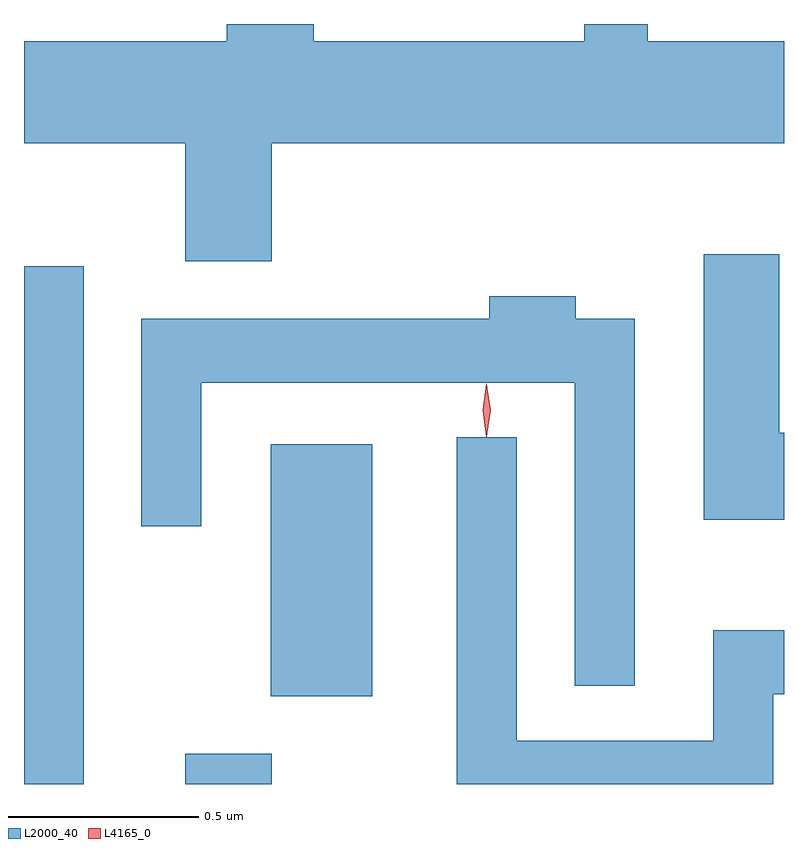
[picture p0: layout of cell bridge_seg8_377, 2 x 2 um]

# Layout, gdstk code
import gdstk
lib = gdstk.Library(unit=1e-6, precision=1e-09)
def R(c, l, rs):  # rectangles x0, y0, x1, y1
    for r in rs: c.add(gdstk.rectangle(r[:2], r[2:], *l))
def P(c, l, *ps):  # polygons
    for p in ps: c.add(gdstk.Polygon(p, *l))
L2000_40 = (2000, 40)
L4165_0 = (4165, 0)

bridge_seg8_377 = lib.new_cell('bridge_seg8_377')
R(bridge_seg8_377, L2000_40, [(722.997,1927.97,723.154,1929.333), (723.421,1927.97,723.649,1928.049), (723.646,1928.201,723.914,1928.864)])
P(bridge_seg8_377, L2000_40, [(723.649,1929.656),(724.997,1929.656),(724.997,1929.924),(724.639,1929.924),(724.639,1929.97),(724.471,1929.97),(724.471,1929.924),(723.759,1929.924),(723.759,1929.97),(723.531,1929.97),(723.531,1929.924),(722.997,1929.924),(722.997,1929.656),(723.421,1929.656),(723.421,1929.346),(723.649,1929.346)],
  [(724.997,1928.894),(724.984,1928.894),(724.984,1929.364),(724.786,1929.364),(724.786,1928.666),(724.997,1928.666)],
  [(724.604,1929.194),(724.449,1929.194),(724.449,1929.254),(724.221,1929.254),(724.221,1929.194),(723.306,1929.194),(723.306,1928.648),(723.464,1928.648),(723.464,1929.026),(724.446,1929.026),(724.446,1928.228),(724.604,1928.228)],
  [(724.969,1928.206),(724.997,1928.206),(724.997,1928.374),(724.811,1928.374),(724.811,1928.084),(724.294,1928.084),(724.294,1928.883),(724.136,1928.883),(724.136,1927.97),(724.969,1927.97)])
P(bridge_seg8_377, L4165_0, [(724.214,1928.884),(724.214,1928.884),(724.204,1928.953),(724.214,1929.022),(724.214,1929.023),(724.215,1929.022),(724.224,1928.953),(724.215,1928.884)],
  [(724.214,1928.887),(724.205,1928.954),(724.214,1929.02),(724.215,1929.02),(724.215,1929.02),(724.225,1928.954),(724.215,1928.887),(724.215,1928.887)])

lib.write_gds('bridge_seg8_377.gds')
